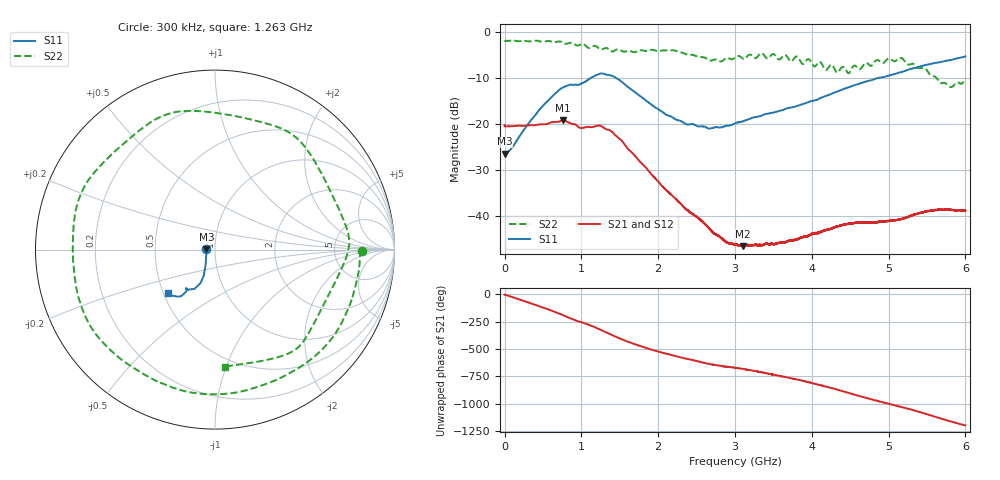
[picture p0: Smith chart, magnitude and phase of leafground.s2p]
!  8/12/2020  02:42:33
! Ref Plane: 0.000 mm
# MHZ S MA R  50
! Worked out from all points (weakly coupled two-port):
!   10001 points, 300 kHz to 6 GHz, reference 50 ohm
!   highest |S21| = -19.12 dB at 759.9 MHz (marker M1); lowest = -46.5 dB at 3.108 GHz (marker M2)
!   lowest |S11| = -26.4 dB at 900 kHz (marker M3), VSWR 1.10, Z = 45.4 + j0.101 ohm
!   |S11| at or under -10 dB: start of sweep to 1.113 GHz; 1.46 GHz to 4.844 GHz (3.383 GHz wide, 107 % of centre)
!   |S22| runs from -11.9 to -1.7 dB; largest |S21 - S12| = 0.002
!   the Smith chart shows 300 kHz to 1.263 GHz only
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0.3  0.04833 177.3  0.09852 -1.2  0.09704 -1.1  0.8181 -0.5
0.9  0.04777 178.7  0.0946 -0.7  0.09562 -0.5  0.8104 -0.7
237.8881  0.08388 -127.0  0.09618 -56.7  0.09607 -56.5  0.8059 -86.8
457.4771  0.1456 -114.6  0.09991 -109.3  0.09985 -109.1  0.8024 -163.9
759.862  0.252 -119.1  0.1106 171.0  0.1104 171.2  0.7721 94.6
1000.45  0.2769 -124.5  0.09114 106.3  0.09097 106.5  0.7458 8.2
1278.236  0.3569 -138.6  0.09351 26.4  0.09337 26.5  0.6604 -90.8
1511.024  0.2965 -155.5  0.0681 -45.9  0.06812 -45.7  0.6385 -168.6
1763.012  0.2047 -156.7  0.03925 -110.8  0.03922 -110.7  0.6391 98.7
2000.6  0.1465 -149.4  0.02387 -162.9  0.0238 -162.9  0.6273 19.9
2310.184  0.107 -126.8  0.01322 140.3  0.01311 140.4  0.6027 -76.4
2587.971  0.0949 -102.4  0.008554 95.6  0.008518 95.7  0.5381 -174.0
3000.15  0.1026 -63.3  0.004929 49.0  0.00493 49.6  0.5303 27.5
3108.145  0.1078 -55.7  0.004724 38.3  0.004781 38.2  0.5152 -4.9
3349.332  0.1247 -42.9  0.004874 7.5  0.004818 7.8  0.5945 -82.0
3641.518  0.1452 -28.2  0.005155 -33.8  0.005156 -32.7  0.5682 -176.3
4000.3  0.1794 -10.7  0.006394 -90.2  0.006441 -89.7  0.4629 72.4
4412.479  0.242 3.2  0.008087 -167.1  0.007997 -167.4  0.4208 -81.0
4702.865  0.292 8.8  0.008578 134.1  0.008514 134.1  0.4662 170.0
5000.45  0.3391 13.1  0.008924 79.2  0.008823 79.7  0.5194 78.6
5487.026  0.443 17.9  0.01129 -13.3  0.01133 -13.3  0.3988 -60.8
6000  0.5488 18.6  0.01154 -118.7  0.01153 -118.7  0.314 84.0
